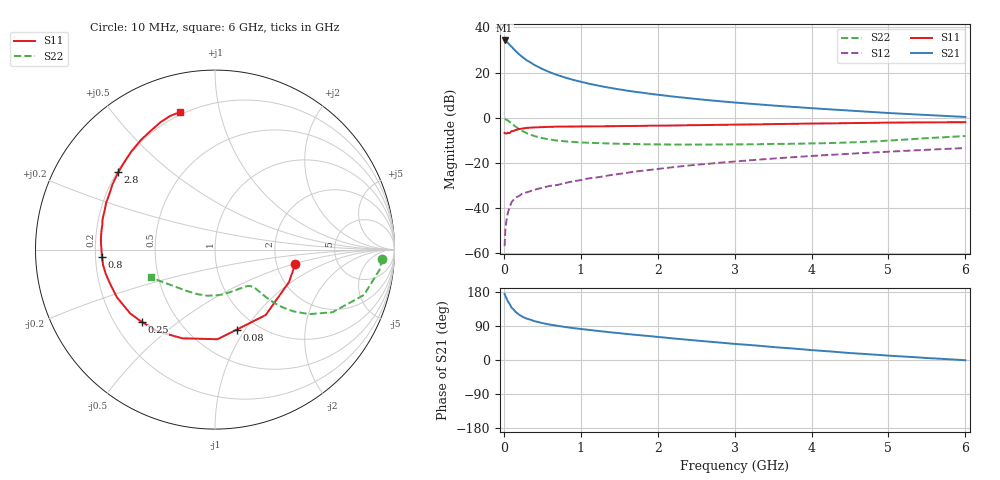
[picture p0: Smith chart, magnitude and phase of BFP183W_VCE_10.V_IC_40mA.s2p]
! (c) 2017  Infineon Technologies AG, Munich
! Infineon Technologies  Discrete & RF Semiconductors
! BFP183W
! VCE =  10. V,  IC =  40 mA
! Common Emitter S-Parameters:  Jan 2017
# GHz  S  MA  R  50
!  f  S11  S21  S12  S22
! GHz  MAG  ANG  MAG  ANG  MAG  ANG  MAG  ANG
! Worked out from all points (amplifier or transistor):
!   77 points, 10 MHz to 6 GHz, reference 50 ohm
!   highest |S21| = 34.2 dB at 10 MHz (marker M1)
!   |S21| within 3 dB of that: start of sweep to 106.8 MHz
!   unconditionally stable (mu >= 1): 928.2 MHz to 3.659 GHz
!   at 130 MHz: K = 0.38, MSG = 33.3 dB, |S12| = -36.3 dB
!   at 2.2 GHz: K = 1.10, MAG = 13.8 dB, |S12| = -22.0 dB
!   at 6 GHz: K = 0.85, MSG = 6.9 dB, |S12| = -13.5 dB
!   S11 on the Smith chart (normalised r, x): 10 MHz: 2.55, -0.51; 80 MHz: 0.81, -0.92; 250 MHz: 0.31, -0.38; 800 MHz: 0.23, -0.03; 2.8 GHz: 0.20, +0.34; 6 GHz: 0.19, +0.76
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0.01  0.4545 -10.0  51.52 174.6  0.0014 74.9  0.9334 -3.1
0.02  0.4503 -23.6  50.73 169.1  0.0032 84.7  0.9235 -7.0
0.05  0.4612 -52.2  46.11 155.5  0.0074 68.4  0.8676 -16.9
0.08  0.4616 -74.7  40.5 146.1  0.0109 61.8  0.7883 -23.2
0.1  0.4995 -88.4  37.51 138.4  0.0132 59.3  0.7417 -28.1
0.15  0.5268 -110.2  30.38 127.5  0.0167 55.3  0.6346 -34.5
0.2  0.5564 -125.0  25.27 119.4  0.0183 52.5  0.5543 -38.3
0.25  0.5736 -135.4  21.47 113.5  0.0212 49.8  0.4954 -40.5
0.3  0.5915 -143.1  18.6 109.0  0.0219 49.0  0.4484 -41.9
0.4  0.6078 -154.1  14.62 102.3  0.0251 48.2  0.3884 -43.0
0.5  0.6146 -161.8  11.96 97.4  0.0277 49.6  0.3507 -43.4
0.6  0.6238 -167.6  10.12 93.4  0.0305 50.5  0.3251 -43.7
0.8  0.6314 -176.2  7.722 87.0  0.0354 55.4  0.2968 -44.5
0.9  0.6323 -179.8  6.879 84.3  0.0385 55.3  0.2881 -45.4
1.1  0.6384 174.6  5.692 79.6  0.0446 58.6  0.2765 -47.2
1.5  0.6486 165.2  4.222 70.8  0.0562 60.9  0.2627 -52.8
2.1  0.664 153.0  3.071 59.0  0.0758 61.3  0.2531 -64.5
2.8  0.6903 141.3  2.314 46.1  0.0994 59.7  0.2536 -81.6
3.1  0.7001 136.6  2.095 41.0  0.1093 58.2  0.2545 -89.1
4.1  0.7401 122.8  1.579 24.7  0.1439 53.0  0.269 -114.9
5.1  0.7749 112.1  1.238 10.3  0.1785 46.9  0.3158 -141.4
6  0.7914 104.1  1.033 -0.7  0.211 40.8  0.3896 -157.1
